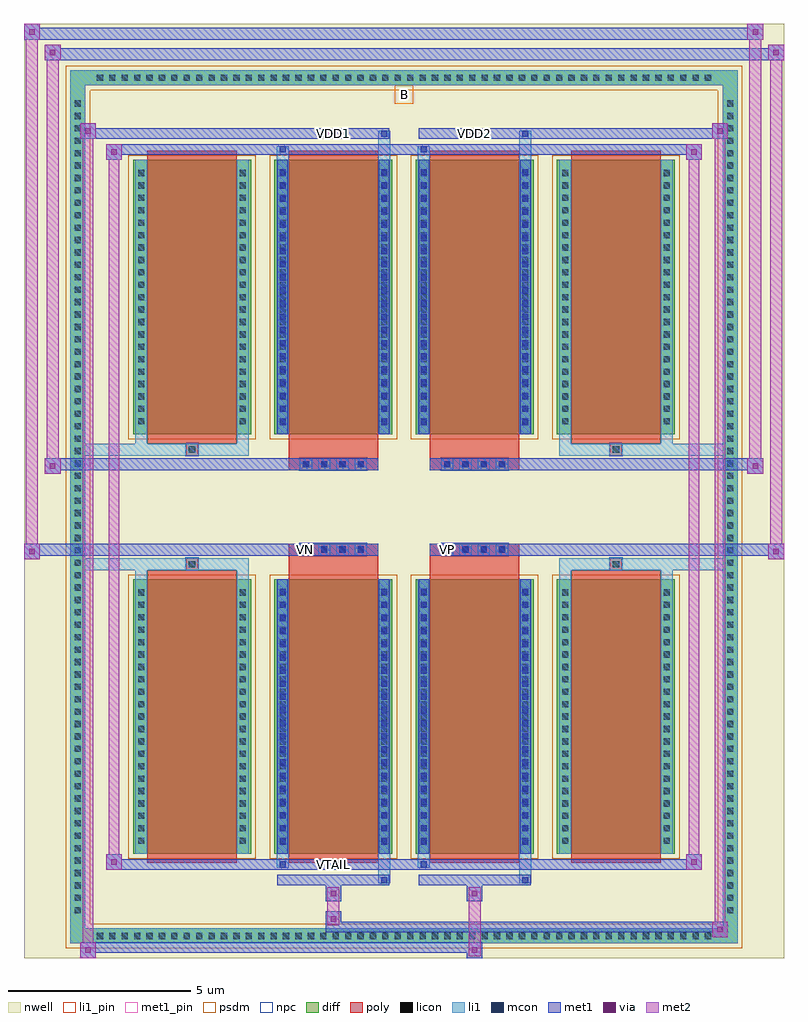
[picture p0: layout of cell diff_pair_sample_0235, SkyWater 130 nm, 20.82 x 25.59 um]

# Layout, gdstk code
import gdstk
lib = gdstk.Library(unit=1e-6, precision=5e-09)
def R(c, l, rs):  # rectangles x0, y0, x1, y1
    for r in rs: c.add(gdstk.rectangle(r[:2], r[2:], *l))
def A(c, l, x, y, w, h, nx, ny, dx, dy):  # array of equal rectangles
    R(c, l, [(x+i*dx, y+j*dy, x+i*dx+w, y+j*dy+h) for i in range(nx) for j in range(ny)])
def P(c, l, *ps):  # polygons
    for p in ps: c.add(gdstk.Polygon(p, *l))
nwell = (64, 20)
diff = (65, 20)
poly = (66, 20)
licon = (66, 44)
li1_pin = (67, 16)
li1 = (67, 20)
mcon = (67, 44)
met1_pin = (68, 16)
met1 = (68, 20)
via = (68, 44)
met2 = (69, 20)
psdm = (94, 20)
npc = (95, 20)

diff_pair_sample_0235 = lib.new_cell('diff_pair_sample_0235')
R(diff_pair_sample_0235, nwell, [(-10.41,-12.36,10.41,13.23), (-7.73,-10.55,-0.01,-0.805), (0.01,-10.55,7.73,-0.805), (-7.73,0.805,-0.01,10.55), (0.01,0.805,7.73,10.55)])
A(diff_pair_sample_0235, diff, -8.535, -11.96, 0.41, 0.41, 50, 2, 0.34, 23.51)
A(diff_pair_sample_0235, diff, -9.14, -11.255, 0.41, 0.41, 1, 66, 0, 0.34)
A(diff_pair_sample_0235, diff, 8.73, -11.255, 0.41, 0.41, 1, 66, 0, 0.34)
A(diff_pair_sample_0235, diff, -7.42, -9.505, 3.23, 7.52, 4, 2, 3.87, 11.49)
R(diff_pair_sample_0235, diff, [(-8.535,-11.96,8.535,-11.55), (-9.14,-11.255,-8.73,11.255), (8.73,-11.255,9.14,11.255), (-8.535,11.55,8.535,11.96)])
P(diff_pair_sample_0235, diff, [(9.14,11.96),(-9.14,11.96),(-9.14,-11.55),(-8.73,-11.55),(-8.73,11.55),(8.73,11.55),(8.73,-11.55),(-8.73,-11.55),(-9.14,-11.55),(-9.14,-11.96),(9.14,-11.96)])
A(diff_pair_sample_0235, poly, -7.03, -9.755, 2.45, 8.02, 4, 2, 3.87, 11.49)
A(diff_pair_sample_0235, poly, -2.85, -1.335, 0.33, 0.33, 4, 2, 0.5, 2.34)
A(diff_pair_sample_0235, poly, 1.02, -1.335, 0.33, 0.33, 4, 2, 0.5, 2.34)
R(diff_pair_sample_0235, poly, [(-5.97,-1.735,-5.64,-1.405), (-5.97,-1.735,-5.64,-1.405), (-3.16,-1.735,-0.71,-1.335), (0.71,-1.735,3.16,-1.335), (5.64,-1.735,5.97,-1.405), (5.64,-1.735,5.97,-1.405), (-3.16,-1.335,-0.71,-1.005), (0.71,-1.335,3.16,-1.005), (-3.16,1.005,-0.71,1.335), (0.71,1.005,3.16,1.335), (-3.16,1.335,-0.71,1.735), (0.71,1.335,3.16,1.735), (-5.97,1.405,-5.64,1.735), (-5.97,1.405,-5.64,1.735), (5.64,1.405,5.97,1.735), (5.64,1.405,5.97,1.735)])
A(diff_pair_sample_0235, licon, -8.415, -11.84, 0.17, 0.17, 50, 2, 0.34, 23.51)
A(diff_pair_sample_0235, licon, -9.02, -11.135, 0.17, 0.17, 1, 66, 0, 0.34)
A(diff_pair_sample_0235, licon, 8.85, -11.135, 0.17, 0.17, 1, 66, 0, 0.34)
A(diff_pair_sample_0235, licon, -7.28, -9.23, 0.17, 0.17, 1, 21, 0, 0.34)
A(diff_pair_sample_0235, licon, -4.5, -9.23, 0.17, 0.17, 1, 21, 0, 0.34)
A(diff_pair_sample_0235, licon, -3.41, -9.23, 0.17, 0.17, 1, 21, 0, 0.34)
A(diff_pair_sample_0235, licon, -0.63, -9.23, 0.17, 0.17, 1, 21, 0, 0.34)
A(diff_pair_sample_0235, licon, 0.46, -9.23, 0.17, 0.17, 1, 21, 0, 0.34)
A(diff_pair_sample_0235, licon, 3.24, -9.23, 0.17, 0.17, 1, 21, 0, 0.34)
A(diff_pair_sample_0235, licon, 4.33, -9.23, 0.17, 0.17, 1, 21, 0, 0.34)
A(diff_pair_sample_0235, licon, 7.11, -9.23, 0.17, 0.17, 1, 21, 0, 0.34)
A(diff_pair_sample_0235, licon, -2.77, -1.255, 0.17, 0.17, 4, 2, 0.5, 2.34)
A(diff_pair_sample_0235, licon, 1.1, -1.255, 0.17, 0.17, 4, 2, 0.5, 2.34)
A(diff_pair_sample_0235, licon, -7.28, 2.26, 0.17, 0.17, 1, 21, 0, 0.34)
A(diff_pair_sample_0235, licon, -4.5, 2.26, 0.17, 0.17, 1, 21, 0, 0.34)
A(diff_pair_sample_0235, licon, -3.41, 2.26, 0.17, 0.17, 1, 21, 0, 0.34)
A(diff_pair_sample_0235, licon, -0.63, 2.26, 0.17, 0.17, 1, 21, 0, 0.34)
A(diff_pair_sample_0235, licon, 0.46, 2.26, 0.17, 0.17, 1, 21, 0, 0.34)
A(diff_pair_sample_0235, licon, 3.24, 2.26, 0.17, 0.17, 1, 21, 0, 0.34)
A(diff_pair_sample_0235, licon, 4.33, 2.26, 0.17, 0.17, 1, 21, 0, 0.34)
A(diff_pair_sample_0235, licon, 7.11, 2.26, 0.17, 0.17, 1, 21, 0, 0.34)
R(diff_pair_sample_0235, licon, [(-5.89,-1.655,-5.72,-1.485), (5.72,-1.655,5.89,-1.485), (-5.89,1.485,-5.72,1.655), (5.72,1.485,5.89,1.655)])
R(diff_pair_sample_0235, li1_pin, [(-0.25,11.05,0.25,11.55)])
A(diff_pair_sample_0235, li1, -8.495, -11.92, 0.33, 0.33, 50, 2, 0.34, 23.51)
A(diff_pair_sample_0235, li1, -9.1, -11.215, 0.33, 0.33, 1, 66, 0, 0.34)
A(diff_pair_sample_0235, li1, 8.77, -11.215, 0.33, 0.33, 1, 66, 0, 0.34)
A(diff_pair_sample_0235, li1, -7.36, -9.31, 0.33, 0.33, 1, 21, 0, 0.34)
A(diff_pair_sample_0235, li1, -4.58, -9.31, 0.33, 0.33, 1, 21, 0, 0.34)
A(diff_pair_sample_0235, li1, -3.49, -9.31, 0.33, 0.33, 1, 21, 0, 0.34)
A(diff_pair_sample_0235, li1, -0.71, -9.31, 0.33, 0.33, 1, 21, 0, 0.34)
A(diff_pair_sample_0235, li1, 0.38, -9.31, 0.33, 0.33, 1, 21, 0, 0.34)
A(diff_pair_sample_0235, li1, 3.16, -9.31, 0.33, 0.33, 1, 21, 0, 0.34)
A(diff_pair_sample_0235, li1, 4.25, -9.31, 0.33, 0.33, 1, 21, 0, 0.34)
A(diff_pair_sample_0235, li1, 7.03, -9.31, 0.33, 0.33, 1, 21, 0, 0.34)
A(diff_pair_sample_0235, li1, -3.41, -9.25, 0.17, 0.17, 1, 20, 0, 0.36)
A(diff_pair_sample_0235, li1, -0.63, -9.25, 0.17, 0.17, 1, 20, 0, 0.36)
A(diff_pair_sample_0235, li1, 0.46, -9.25, 0.17, 0.17, 1, 20, 0, 0.36)
A(diff_pair_sample_0235, li1, 3.24, -9.25, 0.17, 0.17, 1, 20, 0, 0.36)
A(diff_pair_sample_0235, li1, -2.85, -1.335, 0.33, 0.33, 4, 2, 0.5, 2.34)
A(diff_pair_sample_0235, li1, 1.02, -1.335, 0.33, 0.33, 4, 2, 0.5, 2.34)
A(diff_pair_sample_0235, li1, -7.36, 2.18, 0.33, 0.33, 1, 21, 0, 0.34)
A(diff_pair_sample_0235, li1, -4.58, 2.18, 0.33, 0.33, 1, 21, 0, 0.34)
A(diff_pair_sample_0235, li1, -3.49, 2.18, 0.33, 0.33, 1, 21, 0, 0.34)
A(diff_pair_sample_0235, li1, -0.71, 2.18, 0.33, 0.33, 1, 21, 0, 0.34)
A(diff_pair_sample_0235, li1, 0.38, 2.18, 0.33, 0.33, 1, 21, 0, 0.34)
A(diff_pair_sample_0235, li1, 3.16, 2.18, 0.33, 0.33, 1, 21, 0, 0.34)
A(diff_pair_sample_0235, li1, 4.25, 2.18, 0.33, 0.33, 1, 21, 0, 0.34)
A(diff_pair_sample_0235, li1, 7.03, 2.18, 0.33, 0.33, 1, 21, 0, 0.34)
A(diff_pair_sample_0235, li1, -3.41, 2.24, 0.17, 0.17, 1, 20, 0, 0.36)
A(diff_pair_sample_0235, li1, -0.63, 2.24, 0.17, 0.17, 1, 20, 0, 0.36)
A(diff_pair_sample_0235, li1, 0.46, 2.24, 0.17, 0.17, 1, 20, 0, 0.36)
A(diff_pair_sample_0235, li1, 3.24, 2.24, 0.17, 0.17, 1, 20, 0, 0.36)
R(diff_pair_sample_0235, li1, [(-9.14,-11.96,-8.73,-11.55), (-9.14,-11.96,-8.73,-11.55), (-8.73,-11.96,8.73,-11.55), (8.73,-11.96,9.14,-11.55), (8.73,-11.96,9.14,-11.55), (-9.14,-11.55,-8.73,11.55), (8.73,-11.55,9.14,11.55), (-0.71,-10.31,-0.38,-9.505), (-0.63,-10.31,-0.46,-10.14), (3.16,-10.31,3.49,-9.505), (3.24,-10.31,3.41,-10.14), (-3.49,-9.88,-3.16,-9.505), (-3.41,-9.88,-3.24,-9.71), (0.38,-9.88,0.71,-9.505), (0.46,-9.88,0.63,-9.71), (-7.36,-9.505,-7.03,-1.985), (-4.58,-9.505,-4.25,-1.985), (-3.49,-9.505,-3.16,-1.985), (-0.71,-9.505,-0.38,-1.985), (0.38,-9.505,0.71,-1.985), (3.16,-9.505,3.49,-1.985), (4.25,-9.505,4.58,-1.985), (7.03,-9.505,7.36,-1.985), (-3.41,-9.25,-3.24,-2.24), (-0.63,-9.25,-0.46,-2.24), (0.46,-9.25,0.63,-2.24), (3.24,-9.25,3.41,-2.24), (-7.36,-1.985,-7.03,-1.405), (-4.58,-1.985,-4.25,-1.405), (4.25,-1.985,4.58,-1.405), (7.03,-1.985,7.36,-1.405), (-9.14,-1.735,-5.97,-1.405), (-7.36,-1.735,-5.97,-1.405), (-5.97,-1.735,-5.64,-1.405), (-5.64,-1.735,-4.25,-1.405), (4.25,-1.735,5.64,-1.405), (5.64,-1.735,5.97,-1.405), (5.64,-1.735,9.14,-1.405), (5.97,-1.735,7.36,-1.405), (-9.14,1.405,-5.97,1.735), (-7.36,1.405,-5.97,1.735), (-7.36,1.405,-7.03,1.985), (-5.97,1.405,-5.64,1.735), (-5.64,1.405,-4.25,1.735), (-4.58,1.405,-4.25,1.985), (4.25,1.405,5.64,1.735), (4.25,1.405,4.58,1.985), (5.64,1.405,5.97,1.735), (5.64,1.405,9.14,1.735), (5.97,1.405,7.36,1.735), (7.03,1.405,7.36,1.985), (-7.36,1.985,-7.03,9.505), (-4.58,1.985,-4.25,9.505), (-3.49,1.985,-3.16,9.505), (-0.71,1.985,-0.38,9.505), (0.38,1.985,0.71,9.505), (3.16,1.985,3.49,9.505), (4.25,1.985,4.58,9.505), (7.03,1.985,7.36,9.505), (-3.41,2.24,-3.24,9.25), (-0.63,2.24,-0.46,9.25), (0.46,2.24,0.63,9.25), (3.24,2.24,3.41,9.25), (-3.49,9.505,-3.16,9.88), (-0.71,9.505,-0.38,10.31), (0.38,9.505,0.71,9.88), (3.16,9.505,3.49,10.31), (-3.41,9.71,-3.24,9.88), (0.46,9.71,0.63,9.88), (-0.63,10.14,-0.46,10.31), (3.24,10.14,3.41,10.31), (-9.14,11.55,-8.73,11.96), (-9.14,11.55,-8.73,11.96), (-8.73,11.55,8.73,11.96), (8.73,11.55,9.14,11.96), (8.73,11.55,9.14,11.96)])
A(diff_pair_sample_0235, mcon, -3.41, -9.25, 0.17, 0.17, 1, 20, 0, 0.36)
A(diff_pair_sample_0235, mcon, -0.63, -9.25, 0.17, 0.17, 1, 20, 0, 0.36)
A(diff_pair_sample_0235, mcon, 0.46, -9.25, 0.17, 0.17, 1, 20, 0, 0.36)
A(diff_pair_sample_0235, mcon, 3.24, -9.25, 0.17, 0.17, 1, 20, 0, 0.36)
A(diff_pair_sample_0235, mcon, -2.77, -1.255, 0.17, 0.17, 4, 2, 0.5, 2.34)
A(diff_pair_sample_0235, mcon, 1.1, -1.255, 0.17, 0.17, 4, 2, 0.5, 2.34)
A(diff_pair_sample_0235, mcon, -3.41, 2.24, 0.17, 0.17, 1, 20, 0, 0.36)
A(diff_pair_sample_0235, mcon, -0.63, 2.24, 0.17, 0.17, 1, 20, 0, 0.36)
A(diff_pair_sample_0235, mcon, 0.46, 2.24, 0.17, 0.17, 1, 20, 0, 0.36)
A(diff_pair_sample_0235, mcon, 3.24, 2.24, 0.17, 0.17, 1, 20, 0, 0.36)
R(diff_pair_sample_0235, mcon, [(-0.63,-10.31,-0.46,-10.14), (3.24,-10.31,3.41,-10.14), (-3.41,-9.88,-3.24,-9.71), (0.46,-9.88,0.63,-9.71), (-3.41,9.71,-3.24,9.88), (0.46,9.71,0.63,9.88), (-0.63,10.14,-0.46,10.31), (3.24,10.14,3.41,10.31)])
R(diff_pair_sample_0235, met1_pin, [(-2.07,-9.92,-1.8,-9.65), (-2.82,-1.295,-2.55,-1.025), (1.05,-1.295,1.32,-1.025), (-2.07,10.1,-1.8,10.37), (1.8,10.1,2.07,10.37)])
A(diff_pair_sample_0235, met1, -3.47, -9.31, 0.29, 0.29, 1, 20, 0, 0.36)
A(diff_pair_sample_0235, met1, -0.69, -9.31, 0.29, 0.29, 1, 20, 0, 0.36)
A(diff_pair_sample_0235, met1, 0.4, -9.31, 0.29, 0.29, 1, 20, 0, 0.36)
A(diff_pair_sample_0235, met1, 3.18, -9.31, 0.29, 0.29, 1, 20, 0, 0.36)
A(diff_pair_sample_0235, met1, -2.83, -1.315, 0.29, 0.29, 4, 2, 0.5, 2.34)
A(diff_pair_sample_0235, met1, 1.04, -1.315, 0.29, 0.29, 4, 2, 0.5, 2.34)
A(diff_pair_sample_0235, met1, -3.47, 2.18, 0.29, 0.29, 1, 20, 0, 0.36)
A(diff_pair_sample_0235, met1, -0.69, 2.18, 0.29, 0.29, 1, 20, 0, 0.36)
A(diff_pair_sample_0235, met1, 0.4, 2.18, 0.29, 0.29, 1, 20, 0, 0.36)
A(diff_pair_sample_0235, met1, 3.18, 2.18, 0.29, 0.29, 1, 20, 0, 0.36)
R(diff_pair_sample_0235, met1, [(-8.87,-12.36,-8.44,-11.93), (1.72,-12.36,2.15,-11.93), (-8.87,-12.22,2.15,-11.93), (8.44,-11.79,8.87,-11.36), (-2.15,-11.65,8.87,-11.36), (-2.15,-11.51,-1.72,-11.08), (-2.15,-10.8,-1.72,-10.37), (1.72,-10.8,2.15,-10.37), (-3.47,-10.37,-0.4,-10.08), (-0.69,-10.37,-0.4,-10.08), (0.4,-10.37,3.47,-10.08), (3.18,-10.37,3.47,-10.08), (-8.16,-9.94,-7.73,-9.51), (-8.16,-9.94,-3.47,-9.65), (-3.47,-9.94,-3.18,-9.65), (-3.47,-9.94,-0.4,-9.65), (-0.4,-9.94,0.4,-9.65), (0.4,-9.94,0.69,-9.65), (0.4,-9.94,3.47,-9.65), (3.47,-9.94,8.16,-9.65), (7.73,-9.94,8.16,-9.51), (-3.47,-9.505,-3.18,-1.985), (-0.69,-9.505,-0.4,-1.985), (0.4,-9.505,0.69,-1.985), (3.18,-9.505,3.47,-1.985), (-10.41,-1.435,-9.98,-1.005), (9.98,-1.435,10.41,-1.005), (-10.41,-1.335,-0.71,-1.005), (-3.16,-1.335,-0.71,-1.005), (0.71,-1.335,3.16,-1.005), (0.71,-1.335,10.41,-1.005), (-9.84,0.905,-9.41,1.335), (9.41,0.905,9.84,1.335), (-9.84,1.005,-3.16,1.335), (-3.16,1.005,-0.71,1.335), (0.71,1.005,3.16,1.335), (3.16,1.005,9.84,1.335), (-3.47,1.985,-3.18,9.505), (-0.69,1.985,-0.4,9.505), (0.4,1.985,0.69,9.505), (3.18,1.985,3.47,9.505), (-8.16,9.51,-7.73,9.94), (7.73,9.51,8.16,9.94), (-8.16,9.65,-3.47,9.94), (-3.47,9.65,-3.18,9.94), (-3.47,9.65,-0.4,9.94), (-0.4,9.65,0.4,9.94), (0.4,9.65,0.69,9.94), (0.4,9.65,3.47,9.94), (3.47,9.65,8.16,9.94), (-8.87,10.08,-8.44,10.51), (-8.87,10.08,-3.47,10.37), (-3.47,10.08,-0.4,10.37), (-0.69,10.08,-0.4,10.37), (0.4,10.08,3.47,10.37), (3.18,10.08,3.47,10.37), (3.47,10.08,8.87,10.37), (8.44,10.08,8.87,10.51), (-9.84,12.23,-9.41,12.66), (-9.84,12.23,-7.73,12.56), (-7.73,12.23,7.73,12.56), (7.73,12.23,10.41,12.56), (9.98,12.23,10.41,12.66), (-10.41,12.8,-9.98,13.23), (-10.41,12.8,-7.73,13.13), (-7.73,12.8,7.73,13.13), (7.73,12.8,9.84,13.13), (9.41,12.8,9.84,13.23)])
R(diff_pair_sample_0235, via, [(-8.73,-12.22,-8.58,-12.07), (1.86,-12.22,2.01,-12.07), (8.58,-11.65,8.73,-11.5), (-2.01,-11.37,-1.86,-11.22), (-2.01,-10.66,-1.86,-10.51), (1.86,-10.66,2.01,-10.51), (-8.02,-9.8,-7.87,-9.65), (7.87,-9.8,8.02,-9.65), (-10.27,-1.295,-10.12,-1.145), (10.12,-1.295,10.27,-1.145), (-9.7,1.045,-9.55,1.195), (9.55,1.045,9.7,1.195), (-8.02,9.65,-7.87,9.8), (7.87,9.65,8.02,9.8), (-8.73,10.22,-8.58,10.37), (8.58,10.22,8.73,10.37), (-9.7,12.37,-9.55,12.52), (10.12,12.37,10.27,12.52), (-10.27,12.94,-10.12,13.09), (9.55,12.94,9.7,13.09)])
R(diff_pair_sample_0235, met2, [(-8.87,-12.36,-8.44,-11.93), (-8.8,-12.36,-8.51,10.51), (-8.51,-12.36,-8.44,-11.93), (-8.82,-12.31,-8.49,-11.98), (1.77,-12.31,2.1,-11.98), (1.77,-11.98,2.1,-10.75), (8.44,-11.79,8.87,-11.36), (8.51,-11.79,8.8,10.51), (8.8,-11.79,8.87,-11.36), (8.49,-11.74,8.82,-11.41), (-2.1,-11.46,-1.77,-11.13), (-2.1,-11.13,-1.77,-10.75), (-2.1,-10.75,-1.77,-10.42), (1.77,-10.75,2.1,-10.42), (-8.16,-9.94,-7.73,-9.51), (-8.09,-9.94,-7.8,9.94), (-7.8,-9.94,-7.73,-9.51), (7.73,-9.94,8.16,-9.51), (7.8,-9.94,8.09,9.94), (8.09,-9.94,8.16,-9.51), (-8.11,-9.89,-7.78,-9.56), (7.78,-9.89,8.11,-9.56), (-10.41,-1.435,-9.98,-1.005), (-10.36,-1.435,-10.03,13.23), (-10.03,-1.435,-9.98,-1.005), (9.98,-1.435,10.41,-1.005), (10.03,-1.435,10.36,12.66), (10.36,-1.435,10.41,-1.005), (-10.36,-1.385,-10.03,-1.055), (10.03,-1.385,10.36,-1.055), (-9.84,0.905,-9.41,1.335), (-9.79,0.905,-9.46,12.66), (-9.46,0.905,-9.41,1.335), (9.41,0.905,9.84,1.335), (9.46,0.905,9.79,13.23), (9.79,0.905,9.84,1.335), (-9.79,0.955,-9.46,1.285), (9.46,0.955,9.79,1.285), (-8.16,9.51,-7.73,9.94), (-7.8,9.51,-7.73,9.94), (7.73,9.51,8.16,9.94), (8.09,9.51,8.16,9.94), (-8.11,9.56,-7.78,9.89), (7.78,9.56,8.11,9.89), (-8.87,10.08,-8.44,10.51), (-8.51,10.08,-8.44,10.51), (8.44,10.08,8.87,10.51), (8.8,10.08,8.87,10.51), (-8.82,10.13,-8.49,10.46), (8.49,10.13,8.82,10.46), (-9.84,12.23,-9.41,12.66), (-9.46,12.23,-9.41,12.66), (9.98,12.23,10.41,12.66), (10.36,12.23,10.41,12.66), (-9.79,12.28,-9.46,12.61), (10.03,12.28,10.36,12.61), (-10.41,12.8,-9.98,13.23), (-10.03,12.8,-9.98,13.23), (9.41,12.8,9.84,13.23), (9.79,12.8,9.84,13.23), (-10.36,12.85,-10.03,13.18), (9.46,12.85,9.79,13.18)])
A(diff_pair_sample_0235, psdm, -7.55, -9.635, 3.49, 7.78, 4, 2, 3.87, 11.49)
P(diff_pair_sample_0235, psdm, [(9.27,12.09),(-9.27,12.09),(-9.27,-11.42),(-8.6,-11.42),(-8.6,11.42),(8.6,11.42),(8.6,-11.42),(-8.6,-11.42),(-9.27,-11.42),(-9.27,-12.09),(9.27,-12.09)])
A(diff_pair_sample_0235, npc, -2.87, -1.355, 0.37, 0.37, 4, 2, 0.5, 2.34)
A(diff_pair_sample_0235, npc, 1, -1.355, 0.37, 0.37, 4, 2, 0.5, 2.34)
R(diff_pair_sample_0235, npc, [(-5.99,-1.755,-5.62,-1.385), (5.62,-1.755,5.99,-1.385), (-2.87,-1.355,-2,-0.985), (-2.87,-1.355,-2,-0.985), (-2.37,-1.355,-1.5,-0.985), (-2.37,-1.355,-1.5,-0.985), (-1.87,-1.355,-1,-0.985), (-1.87,-1.355,-1,-0.985), (1,-1.355,1.87,-0.985), (1,-1.355,1.87,-0.985), (1.5,-1.355,2.37,-0.985), (1.5,-1.355,2.37,-0.985), (2,-1.355,2.87,-0.985), (2,-1.355,2.87,-0.985), (-2.87,0.985,-2,1.355), (-2.87,0.985,-2,1.355), (-2.37,0.985,-1.5,1.355), (-2.37,0.985,-1.5,1.355), (-1.87,0.985,-1,1.355), (-1.87,0.985,-1,1.355), (1,0.985,1.87,1.355), (1,0.985,1.87,1.355), (1.5,0.985,2.37,1.355), (1.5,0.985,2.37,1.355), (2,0.985,2.87,1.355), (2,0.985,2.87,1.355), (-5.99,1.385,-5.62,1.755), (5.62,1.385,5.99,1.755)])
diff_pair_sample_0235.add(gdstk.Label('VTAIL', (-1.935,-9.785), layer=68, texttype=5))
diff_pair_sample_0235.add(gdstk.Label('VN', (-2.685,-1.16), layer=68, texttype=5))
diff_pair_sample_0235.add(gdstk.Label('VP', (1.185,-1.16), layer=68, texttype=5))
diff_pair_sample_0235.add(gdstk.Label('B', (0,11.3), layer=67, texttype=5))
diff_pair_sample_0235.add(gdstk.Label('VDD2', (1.935,10.235), layer=68, texttype=5))
diff_pair_sample_0235.add(gdstk.Label('VDD1', (-1.935,10.235), layer=68, texttype=5))

lib.write_gds('diff_pair_sample_0235.gds')
